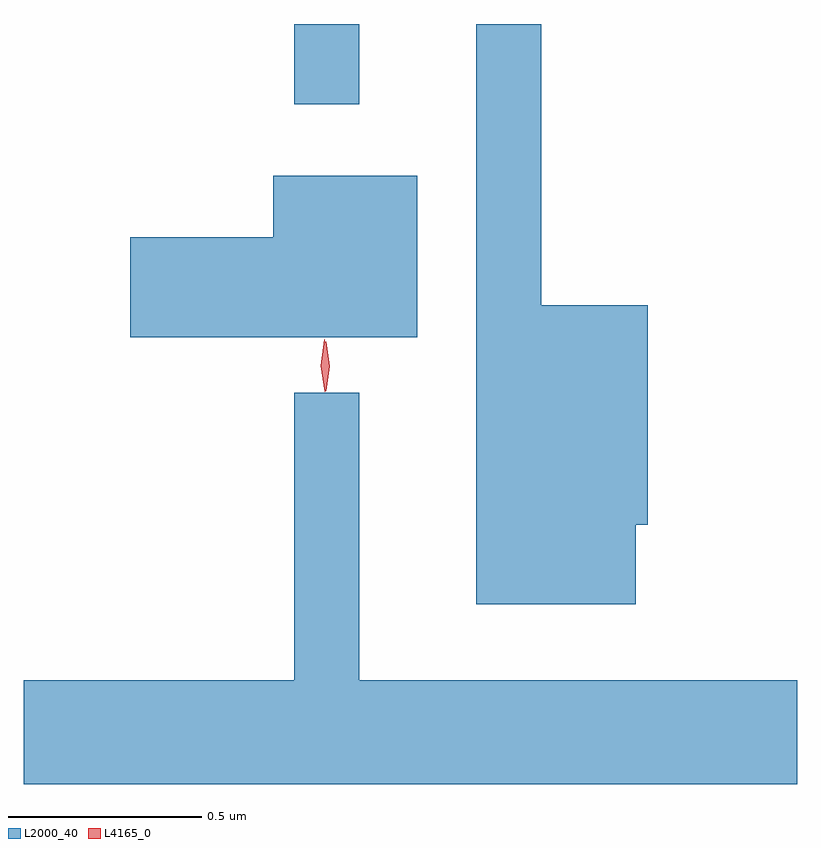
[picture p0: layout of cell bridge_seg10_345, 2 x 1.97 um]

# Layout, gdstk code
import gdstk
lib = gdstk.Library(unit=1e-6, precision=1e-09)
def R(c, l, rs):  # rectangles x0, y0, x1, y1
    for r in rs: c.add(gdstk.rectangle(r[:2], r[2:], *l))
def P(c, l, *ps):  # polygons
    for p in ps: c.add(gdstk.Polygon(p, *l))
L2000_40 = (2000, 40)
L4165_0 = (4165, 0)

bridge_seg10_345 = lib.new_cell('bridge_seg10_345')
R(bridge_seg10_345, L2000_40, [(1387.141,2208.913,1387.309,2209.121)])
P(bridge_seg10_345, L2000_40, [(1388.024,2207.826),(1388.054,2207.826),(1388.054,2208.394),(1387.779,2208.394),(1387.779,2209.121),(1387.611,2209.121),(1387.611,2207.621),(1388.024,2207.621)],
  [(1387.459,2208.729),(1387.086,2208.729),(1387.086,2208.569),(1386.716,2208.569),(1386.716,2208.311),(1387.459,2208.311)],
  [(1387.141,2208.168),(1387.141,2207.424),(1386.441,2207.424),(1386.441,2207.156),(1388.441,2207.156),(1388.441,2207.424),(1387.309,2207.424),(1387.309,2208.168)])
P(bridge_seg10_345, L4165_0, [(1387.222,2208.173),(1387.222,2208.173),(1387.212,2208.236),(1387.222,2208.3),(1387.222,2208.3),(1387.223,2208.3),(1387.232,2208.236),(1387.223,2208.173)],
  [(1387.219,2208.17),(1387.209,2208.238),(1387.218,2208.305),(1387.219,2208.306),(1387.219,2208.305),(1387.229,2208.238),(1387.22,2208.17),(1387.22,2208.17)])

lib.write_gds('bridge_seg10_345.gds')
